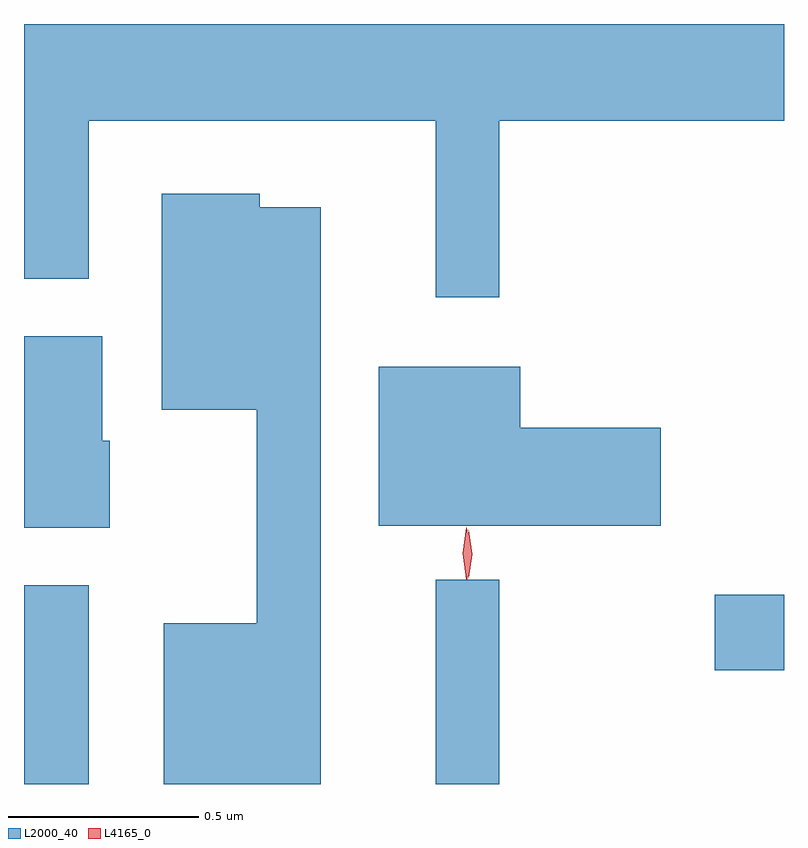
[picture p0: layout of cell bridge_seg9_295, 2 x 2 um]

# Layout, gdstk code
import gdstk
lib = gdstk.Library(unit=1e-6, precision=1e-09)
def R(c, l, rs):  # rectangles x0, y0, x1, y1
    for r in rs: c.add(gdstk.rectangle(r[:2], r[2:], *l))
def P(c, l, *ps):  # polygons
    for p in ps: c.add(gdstk.Polygon(p, *l))
L2000_40 = (2000, 40)
L4165_0 = (4165, 0)

bridge_seg9_295 = lib.new_cell('bridge_seg9_295')
R(bridge_seg9_295, L2000_40, [(965.288,2052.231,965.459,2052.754), (966.371,2052.231,966.539,2052.768), (967.106,2052.531,967.288,2052.729)])
P(bridge_seg9_295, L2000_40, [(966.539,2053.976),(967.288,2053.976),(967.288,2054.231),(965.288,2054.231),(965.288,2053.561),(965.459,2053.561),(965.459,2053.976),(966.371,2053.976),(966.371,2053.512),(966.539,2053.512)],
  [(966.069,2053.749),(965.909,2053.749),(965.909,2053.784),(965.651,2053.784),(965.651,2053.216),(965.901,2053.216),(965.901,2052.654),(965.656,2052.654),(965.656,2052.231),(966.069,2052.231)],
  [(965.514,2053.134),(965.494,2053.134),(965.494,2053.409),(965.288,2053.409),(965.288,2052.906),(965.514,2052.906)],
  [(966.964,2053.169),(966.594,2053.169),(966.594,2053.329),(966.221,2053.329),(966.221,2052.911),(966.964,2052.911)])
P(bridge_seg9_295, L4165_0, [(966.452,2052.77),(966.443,2052.838),(966.452,2052.905),(966.452,2052.906),(966.453,2052.905),(966.462,2052.838),(966.454,2052.77),(966.453,2052.77)],
  [(966.458,2052.773),(966.458,2052.774),(966.448,2052.836),(966.458,2052.899),(966.458,2052.9),(966.459,2052.899),(966.468,2052.836),(966.459,2052.774)])

lib.write_gds('bridge_seg9_295.gds')
